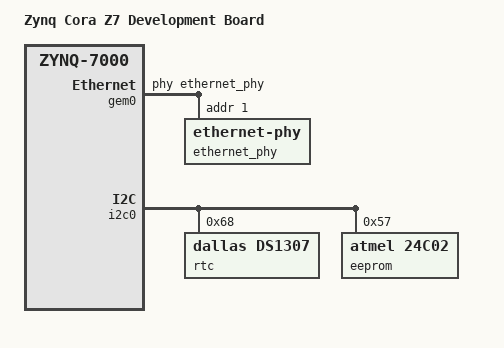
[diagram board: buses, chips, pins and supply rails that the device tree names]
/include/ "system-conf.dtsi"

/ {
	model = "Zynq Cora Z7 Development Board";
	compatible = "digilent,zynq-coraz7", "xlnx,zynq-7000";

	chosen {
		bootargs = "console=ttyPS0,115200 earlyprintk uio_pdrv_genirq.of_id=generic-uio";
	};

};

&gem0 {
	phy-handle = <&ethernet_phy>;
/*	phy-reset-gpio = <&gpio0 GPIO_ACTIVE_LOW>;
	phy-reset-active-low;	
	phy-reset-duration = <10>;  */
	ethernet_phy: ethernet-phy@1 { /* rtl8211e-vl */
		reg = <1>;
		device_type = "ethernet-phy";
	};
};
&sdhci0 {
	u-boot,dm-pre-reloc;
};
&uart0 {
	u-boot,dm-pre-reloc;
};
&i2c0 {
    status = "okay";
    rtc@68 {
        compatible = "dallas,ds1307";
        reg = <0x68>;
    };
    eeprom@57 {
        compatible = "atmel,24c02";
        reg = <0x57>;
    };
};
&amba {
        /delete-node/ ptm@f889d000 ;

        funnel@f8804000 {
                in-ports {
                      /delete-node/ port@1 ;
                };
        };
};
